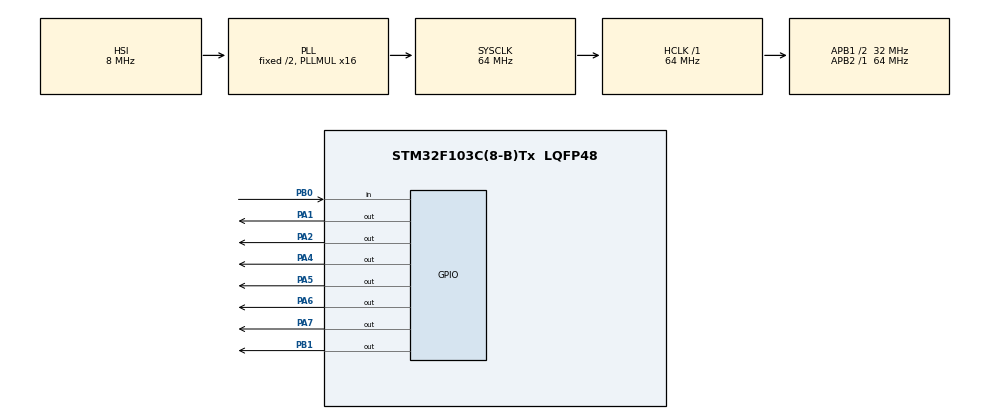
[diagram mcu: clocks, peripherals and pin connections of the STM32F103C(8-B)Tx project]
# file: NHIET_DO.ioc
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Mcu.Family=STM32F1
Mcu.Name=STM32F103C(8-B)Tx
Mcu.Package=LQFP48
NVIC.PriorityGroup=NVIC_PRIORITYGROUP_4
PA0-WKUP.Mode=SYS_WakeUp0
PA0-WKUP.Signal=SYS_WKUP
PA1.Signal=GPIO_Output
PA13.Mode=Serial_Wire
PA13.Signal=SYS_JTMS-SWDIO
PA14.Mode=Serial_Wire
PA14.Signal=SYS_JTCK-SWCLK
PA2.Signal=GPIO_Output
PA4.Signal=GPIO_Output
PA5.Signal=GPIO_Output
PA6.Signal=GPIO_Output
PA7.Signal=GPIO_Output
PB0.Signal=GPIO_Input
PB1.Signal=GPIO_Output
PD0-OSC_IN.Mode=HSE-External-Clock-Source
PD0-OSC_IN.Signal=RCC_OSC_IN
PD1-OSC_OUT.Mode=HSE-External-Clock-Source
PD1-OSC_OUT.Signal=RCC_OSC_OUT
ProjectManager.HeapSize=0x200
ProjectManager.StackSize=0x400
ProjectManager.TargetToolchain=STM32CubeIDE
RCC.AHBFreq_Value=64000000
RCC.APB1CLKDivider=RCC_HCLK_DIV2
RCC.APB1Freq_Value=32000000
RCC.APB1TimFreq_Value=64000000
RCC.APB2Freq_Value=64000000
RCC.APB2TimFreq_Value=64000000
RCC.HCLKFreq_Value=64000000
RCC.PLLMUL=RCC_PLL_MUL16
RCC.SYSCLKFreq_VALUE=64000000
RCC.SYSCLKSource=RCC_SYSCLKSOURCE_PLLCLK
RCC.USBFreq_Value=64000000
TIM2.Prescaler=64-1
VP_TIM2_VS_ClockSourceINT.Mode=Internal
board=custom

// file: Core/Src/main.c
/* USER CODE BEGIN Header */
/**
  ******************************************************************************
  * @file           : main.c
  * @brief          : Main program body
  ******************************************************************************
  * @attention
  *
  * Copyright (c) 2025 STMicroelectronics.
  * All rights reserved.
  *
  * This software is licensed under terms that can be found in the LICENSE file
  * in the root directory of this software component.
  * If no LICENSE file comes with this software, it is provided AS-IS.
  *
  ******************************************************************************
  */
/* USER CODE END Header */
#include "main.h"

/* USER CODE BEGIN PD */
#define RS_Pin  GPIO_PIN_1
#define E_Pin   GPIO_PIN_2
#define D4_Pin  GPIO_PIN_4
#define D5_Pin  GPIO_PIN_5
#define D6_Pin  GPIO_PIN_6
#define D7_Pin  GPIO_PIN_7
#define LCD_Port GPIOA
/* USER CODE END PD */

TIM_HandleTypeDef htim2;
//extern TIM_HandleTypeDef htim2;
/* USER CODE BEGIN PV */

//DHT11_DataTypedef dht;
//char str[20] = {0};
/* USER CODE END PV */

void SystemClock_Config(void);
static void MX_GPIO_Init(void);
static void MX_TIM2_Init(void);

/* USER CODE BEGIN 0 */
//--------------------LCD----------------------LCD--------------------LCD--------------------
void LCD_Enable(void)
{
   HAL_GPIO_WritePin(LCD_Port, E_Pin, GPIO_PIN_SET);
   HAL_Delay(1);
   HAL_GPIO_WritePin(LCD_Port, E_Pin, GPIO_PIN_RESET);
   HAL_Delay(1);
}
void LCD_Send4Bits(uint8_t data)
{
   HAL_GPIO_WritePin(LCD_Port, D4_Pin, (data & 0x01) ? GPIO_PIN_SET : GPIO_PIN_RESET);
   HAL_GPIO_WritePin(LCD_Port, D5_Pin, (data & 0x02) ? GPIO_PIN_SET : GPIO_PIN_RESET);
   HAL_GPIO_WritePin(LCD_Port, D6_Pin, (data & 0x04) ? GPIO_PIN_SET : GPIO_PIN_RESET);
   HAL_GPIO_WritePin(LCD_Port, D7_Pin, (data & 0x08) ? GPIO_PIN_SET : GPIO_PIN_RESET);
   LCD_Enable();
}
void LCD_SendCmd(uint8_t cmd)
{
   HAL_GPIO_WritePin(LCD_Port, RS_Pin, GPIO_PIN_RESET);
   LCD_Send4Bits(cmd >> 4);
   LCD_Send4Bits(cmd & 0x0F);
}
void LCD_MoveCursor(uint8_t row, uint8_t col)
{
	uint8_t address = (row == 0) ? (0x80 + col) : (0xC0 + col);
	LCD_SendCmd(address);
}
void LCD_SendChar(uint8_t data) {
   HAL_GPIO_WritePin(LCD_Port, RS_Pin, GPIO_PIN_SET); // Đặt chân RS lên 1 để gửi dữ liệu
   LCD_Send4Bits(data >> 4);                          // Gửi 4 bit cao
   LCD_Send4Bits(data & 0x0F);                        // Gửi 4 bit thấp
}
void LCD_Init(void) {
   HAL_Delay(20);      // đợi ổn định sau khi cấp nguồn
   // Gửi 0x03 (nibble) 3 lần để đảm bảo LCD về chế độ 8-bit (theo datasheet)
   HAL_GPIO_WritePin(LCD_Port, RS_Pin, GPIO_PIN_RESET);
   LCD_Send4Bits(0x03);
   HAL_Delay(5);
   LCD_Send4Bits(0x03);
   HAL_Delay(5);
   LCD_Send4Bits(0x03);
   HAL_Delay(1);
   // Gửi 0x02 để chuyển sang chế độ 4-bit
   LCD_Send4Bits(0x02);
   HAL_Delay(1);
   // Bây giờ LCD ở chế độ 4-bit, gửi các lệnh chuẩn
   LCD_SendCmd(0x28);  // Function set: 4-bit, 2 line, 5x8 dots
   HAL_Delay(1);
   LCD_SendCmd(0x0C);  // Display ON, cursor off, blink off
   HAL_Delay(1);
   LCD_SendCmd(0x01);  // Clear display
   HAL_Delay(2);       // Clear cần thời gian lâu hơn
   // (tùy chọn) Entry mode
   LCD_SendCmd(0x06);  // Entry mode: cursor moves right
   HAL_Delay(1);
}
void LCD_Puts(char* str)
{
   while (*str) {                              // Trong khi chuỗi chưa kết thúc (ký tự '\0')
       LCD_SendChar((uint8_t)(*str));          // Gửi ký tự hiện tại lên LCD
       str++;                                  // Di chuyển đến ký tự tiếp theo
   }
}

void lcd_clear (void)
{
	LCD_SendCmd(0x01);
	HAL_Delay(10);
}

void Display_Temp (float Temp)
{
	char str[20] = {0};
	LCD_MoveCursor(0, 0);

	sprintf (str, "TEMP: %2.1f ", Temp);
	LCD_Puts(str);
	LCD_Puts("C");
}

void Display_Rh (float Rh)
{
	char str[20] = {0};
	LCD_MoveCursor(1, 0);

	sprintf (str, "RH  : %2.1f ", Rh);
	LCD_Puts(str);
	LCD_Puts("%");
}

//--------------------DHT11----------------------DHT11--------------------DHT11--------------------
#define DHT11_PORT GPIOB
#define DHT11_PIN GPIO_PIN_0

void TIM2_us_Init(void){
    // trong CubeMX set Prescaler = (SystemCoreClock/1000000)-1, CounterPeriod = 0xFFFF
    HAL_TIM_Base_Start(&htim2);
}

//void DELAY_us (uint16_t time_us)
//{
//	__HAL_TIM_SET_COUNTER(&htim2, 0);
//	HAL_TIM_Base_Start (&htim2);
//	htim2.Instance->CNT = 0;
//	while (htim2.Instance->CNT < time_us)
//	{
//		HAL_TIM_Base_Stop (&htim2);
//	}
//}

void DELAY_us(uint16_t us){
    __HAL_TIM_SET_COUNTER(&htim2, 0);
    while(__HAL_TIM_GET_COUNTER(&htim2) < us);
}

void Set_Pin_Output (GPIO_TypeDef *GPIOx, uint16_t GPIO_Pin)
{
	GPIO_InitTypeDef GPIO_InitStruct = {0};
	GPIO_InitStruct.Pin = GPIO_Pin;
	GPIO_InitStruct.Mode = GPIO_MODE_OUTPUT_PP;
	GPIO_InitStruct.Speed = GPIO_SPEED_FREQ_LOW;
	HAL_GPIO_Init(GPIOx, &GPIO_InitStruct);
}

void Set_Pin_Input (GPIO_TypeDef *GPIOx, uint16_t GPIO_Pin)
{
	GPIO_InitTypeDef GPIO_InitStruct = {0};
	GPIO_InitStruct.Pin = GPIO_Pin;
	GPIO_InitStruct.Mode = GPIO_MODE_INPUT;
	GPIO_InitStruct.Pull = GPIO_PULLUP;
	HAL_GPIO_Init(GPIOx, &GPIO_InitStruct);
}

void DHT11_Start (void)
{

	Set_Pin_Output (DHT11_PORT, DHT11_PIN);  // set the pin as output

	HAL_GPIO_WritePin (DHT11_PORT, DHT11_PIN, 0);   // pull the pin low
	HAL_Delay(18);   // wait for 18ms

    HAL_GPIO_WritePin (DHT11_PORT, DHT11_PIN, 1);   // pull the pin high
    DELAY_us(20);   // wait for 20us
//    HAL_GPIO_WritePin(GPIOB, GPIO_PIN_4, 1);
	Set_Pin_Input(DHT11_PORT, DHT11_PIN);    // set as input
}

uint8_t DHT11_Check_Response (void)
{
	uint8_t Response = 0;
	DELAY_us (40);
	if (!(HAL_GPIO_ReadPin (DHT11_PORT, DHT11_PIN)))
	{
		DELAY_us (80);
		if ((HAL_GPIO_ReadPin (DHT11_PORT, DHT11_PIN))) Response = 1;
		else Response = -1; // 255
	}
	while ((HAL_GPIO_ReadPin (DHT11_PORT, DHT11_PIN)));   // wait for the pin to go low

	return Response;
}

uint8_t DHT11_Read (void)
{
	uint8_t i,j;
//	HAL_GPIO_WritePin(GPIOB, GPIO_PIN_5, 1);
	for (j=0;j<8;j++)
	{
//		HAL_GPIO_WritePin(GPIOB, GPIO_PIN_5, 1);
		while (!(HAL_GPIO_ReadPin (DHT11_PORT, DHT11_PIN)));   // wait for the pin to go high
		DELAY_us (40);   // wait for 40 us
//		HAL_GPIO_WritePin(GPIOB, GPIO_PIN_5, 1);
		if (!(HAL_GPIO_ReadPin (DHT11_PORT, DHT11_PIN)))   // if the pin is low
		{
			i&= ~(1<<(7-j));   // write 0
//			HAL_GPIO_WritePin(GPIOB, GPIO_PIN_4, 0);
		}
		else{
			i|= (1<<(7-j));  // if the pin is high, write 1
//			HAL_GPIO_WritePin(GPIOB, GPIO_PIN_4, 1);
		}
		while ((HAL_GPIO_ReadPin (DHT11_PORT, DHT11_PIN)));  // wait for the pin to go low
	}
	return i;
}

void GPIO_Output_Init(void)
{
    __HAL_RCC_GPIOB_CLK_ENABLE();

    GPIO_InitTypeDef GPIO_InitStruct = {0};
    GPIO_InitStruct.Pin = GPIO_PIN_4 | GPIO_PIN_5 | GPIO_PIN_6 | GPIO_PIN_7;
    GPIO_InitStruct.Mode = GPIO_MODE_OUTPUT_PP;
    GPIO_InitStruct.Speed = GPIO_SPEED_FREQ_LOW;
    HAL_GPIO_Init(GPIOB, &GPIO_InitStruct);
}

void OutputNibble(uint8_t data)
{
    HAL_GPIO_WritePin(GPIOB, GPIO_PIN_4, (data & 0x01) ? GPIO_PIN_SET : GPIO_PIN_RESET);
    HAL_GPIO_WritePin(GPIOB, GPIO_PIN_5, (data & 0x02) ? GPIO_PIN_SET : GPIO_PIN_RESET);
    HAL_GPIO_WritePin(GPIOB, GPIO_PIN_6, (data & 0x04) ? GPIO_PIN_SET : GPIO_PIN_RESET);
    HAL_GPIO_WritePin(GPIOB, GPIO_PIN_7, (data & 0x08) ? GPIO_PIN_SET : GPIO_PIN_RESET);
}

/* USER CODE END 0 */

int main(void)
{

  /* USER CODE BEGIN 1 */
	uint8_t Rh_byte1, Rh_byte2, Temp_byte1, Temp_byte2;
	uint8_t SUM, RH, TEMP;

	float Temperature = 0;
	float Humidity = 0;
	uint8_t Presence;
  /* USER CODE END 1 */

  /* MCU Configuration--------------------------------------------------------*/

  /* Reset of all peripherals, Initializes the Flash interface and the Systick. */
  HAL_Init();

  /* Configure the system clock */
  SystemClock_Config();

  /* Initialize all configured peripherals */

  MX_GPIO_Init();
  MX_TIM2_Init();
  HAL_TIM_Base_Start(&htim2);
  LCD_Init();
  LCD_MoveCursor(0, 1);
  LCD_Puts("Nhom 12 - L14");
  HAL_Delay(2000);
  lcd_clear ();
  /* Infinite loop */
  while (1)
    {
	  /* USER CODE END WHILE */

	        /* USER CODE BEGIN 3 */
//	  	  Temperature+=1;
	  lcd_clear ();
	    	Display_Temp(Temperature);
	    	Display_Rh(Humidity);

	        HAL_Delay(1000);

	        DHT11_Start();
	        Presence = DHT11_Check_Response();

	        // 4. KIỂM TRA PHẢN HỒI
	        if (1)
	        {

	            Rh_byte1 = DHT11_Read();
	            Rh_byte2 = DHT11_Read();
	            Temp_byte1 = DHT11_Read();
	            Temp_byte2 = DHT11_Read();
//	            SUM = DHT11_Read();
	            HAL_GPIO_WritePin(GPIOB, GPIO_PIN_7, 1);
//		    	Display_Temp(Temperature);
//		    	Display_Rh(Humidity);
//	            OutputNibble(Rh_byte1);   // hiển thị RH byte 1
//	            HAL_Delay(1000);
//
//	            OutputNibble(Rh_byte2);   // hiển thị RH byte 2
//	            HAL_Delay(1000);

//	            OutputNibble(Rh_byte1); // hiển thị Temp byte 1
	            //HAL_Delay(1000);

//	            OutputNibble(Temp_byte2); // hiển thị Temp byte 2
//	            HAL_Delay(1000);
//
//	            OutputNibble(SUM);        // hiển thị Checksum
//	            HAL_Delay(1000);
	            // 5. KIỂM TRA CHECKSUM
//	            if (SUM == (Rh_byte1 + Rh_byte2 + Temp_byte1 + Temp_byte2))
	            if (1)
	            {
	                RH = Rh_byte1;
	                TEMP = Temp_byte1;

	                Temperature = (float)TEMP;
	                Humidity = (float)RH;
	                HAL_Delay(1000);
	            }

	            else
	            {
	                // Checksum lỗi → giữ giá trị cũ
	                // Có thể hiển thị "ERR"
	                LCD_MoveCursor(1, 10);
	                LCD_Puts("ERR");
	            }
	        }
	        else
	        {
	            // Không có phản hồi → giữ giá trị cũ
	            LCD_MoveCursor(1, 10);
	            LCD_Puts("NO ");
	        }
	      }

    /* USER CODE BEGIN 3 */
  /* USER CODE END 3 */
}

void SystemClock_Config(void)
{
  RCC_OscInitTypeDef RCC_OscInitStruct = {0};
  RCC_ClkInitTypeDef RCC_ClkInitStruct = {0};

  /** Initializes the RCC Oscillators according to the specified parameters
  * in the RCC_OscInitTypeDef structure.
  */
  RCC_OscInitStruct.OscillatorType = RCC_OSCILLATORTYPE_HSI;
  RCC_OscInitStruct.HSIState = RCC_HSI_ON;
  RCC_OscInitStruct.HSICalibrationValue = RCC_HSICALIBRATION_DEFAULT;
  RCC_OscInitStruct.PLL.PLLState = RCC_PLL_ON;
  RCC_OscInitStruct.PLL.PLLSource = RCC_PLLSOURCE_HSI_DIV2;
  RCC_OscInitStruct.PLL.PLLMUL = RCC_PLL_MUL16;
  if (HAL_RCC_OscConfig(&RCC_OscInitStruct) != HAL_OK)
  {
    Error_Handler();
  }

  /** Initializes the CPU, AHB and APB buses clocks
  */
  RCC_ClkInitStruct.ClockType = RCC_CLOCKTYPE_HCLK|RCC_CLOCKTYPE_SYSCLK
                              |RCC_CLOCKTYPE_PCLK1|RCC_CLOCKTYPE_PCLK2;
  RCC_ClkInitStruct.SYSCLKSource = RCC_SYSCLKSOURCE_PLLCLK;
  RCC_ClkInitStruct.AHBCLKDivider = RCC_SYSCLK_DIV1;
  RCC_ClkInitStruct.APB1CLKDivider = RCC_HCLK_DIV2;
  RCC_ClkInitStruct.APB2CLKDivider = RCC_HCLK_DIV1;

  if (HAL_RCC_ClockConfig(&RCC_ClkInitStruct, FLASH_LATENCY_2) != HAL_OK)
  {
    Error_Handler();
  }
}

static void MX_TIM2_Init(void)
{

  TIM_ClockConfigTypeDef sClockSourceConfig = {0};
  TIM_MasterConfigTypeDef sMasterConfig = {0};

  htim2.Instance = TIM2;
  htim2.Init.Prescaler = 64-1;
  htim2.Init.CounterMode = TIM_COUNTERMODE_UP;
  htim2.Init.Period = 65535;
  htim2.Init.ClockDivision = TIM_CLOCKDIVISION_DIV1;
  htim2.Init.AutoReloadPreload = TIM_AUTORELOAD_PRELOAD_DISABLE;
  if (HAL_TIM_Base_Init(&htim2) != HAL_OK)
  {
    Error_Handler();
  }
  sClockSourceConfig.ClockSource = TIM_CLOCKSOURCE_INTERNAL;
  if (HAL_TIM_ConfigClockSource(&htim2, &sClockSourceConfig) != HAL_OK)
  {
    Error_Handler();
  }
  sMasterConfig.MasterOutputTrigger = TIM_TRGO_RESET;
  sMasterConfig.MasterSlaveMode = TIM_MASTERSLAVEMODE_DISABLE;
  if (HAL_TIMEx_MasterConfigSynchronization(&htim2, &sMasterConfig) != HAL_OK)
  {
    Error_Handler();
  }

}

static void MX_GPIO_Init(void)
{
  GPIO_InitTypeDef GPIO_InitStruct = {0};

  /* GPIO Ports Clock Enable */
  __HAL_RCC_GPIOD_CLK_ENABLE();
  __HAL_RCC_GPIOA_CLK_ENABLE();
  __HAL_RCC_GPIOB_CLK_ENABLE();

  /*Configure GPIO pin Outpu++++++++++++++++++++++++++++++++++++++++++++++++++++++++++++++++++++++++++++++++++++++++++++++++++++++++++++++++++++++++++++++++++++++++++++++++++++++++++++++++++++++++++++++++++++++++++++++++++++++++++++++++++++++++++++++++++++++++++++++++++++++++++++++++++++++++++++++++++++++++++++++++++++++++++++++++++++++++++++++++++++++++++++++++++++++++0
   * t Level */
  HAL_GPIO_WritePin(GPIOA, GPIO_PIN_1|GPIO_PIN_2|GPIO_PIN_4|GPIO_PIN_5
                          |GPIO_PIN_6|GPIO_PIN_7, GPIO_PIN_RESET);

  /*Configure GPIO pin Output Level */
  HAL_GPIO_WritePin(GPIOB, GPIO_PIN_1, GPIO_PIN_RESET);

  /*Configure GPIO pins : PA1 PA2 PA4 PA5
                           PA6 PA7 */
  GPIO_InitStruct.Pin = GPIO_PIN_1|GPIO_PIN_2|GPIO_PIN_4|GPIO_PIN_5
                          |GPIO_PIN_6|GPIO_PIN_7;
  GPIO_InitStruct.Mode = GPIO_MODE_OUTPUT_PP;
  GPIO_InitStruct.Pull = GPIO_NOPULL;
  GPIO_InitStruct.Speed = GPIO_SPEED_FREQ_LOW;
  HAL_GPIO_Init(GPIOA, &GPIO_InitStruct);

  /*Configure GPIO pin : PB0 */
  GPIO_InitStruct.Pin = GPIO_PIN_0;
  GPIO_InitStruct.Mode = GPIO_MODE_INPUT;
  GPIO_InitStruct.Pull = GPIO_NOPULL;
  HAL_GPIO_Init(GPIOB, &GPIO_InitStruct);

  /*Configure GPIO pin : PB1 */
  GPIO_InitStruct.Pin = GPIO_PIN_1;
  GPIO_InitStruct.Mode = GPIO_MODE_OUTPUT_PP;
  GPIO_InitStruct.Pull = GPIO_NOPULL;
  GPIO_InitStruct.Speed = GPIO_SPEED_FREQ_LOW;
  HAL_GPIO_Init(GPIOB, &GPIO_InitStruct);

}

void Error_Handler(void)
{
  __disable_irq();
  while (1)
  {
  }
}
